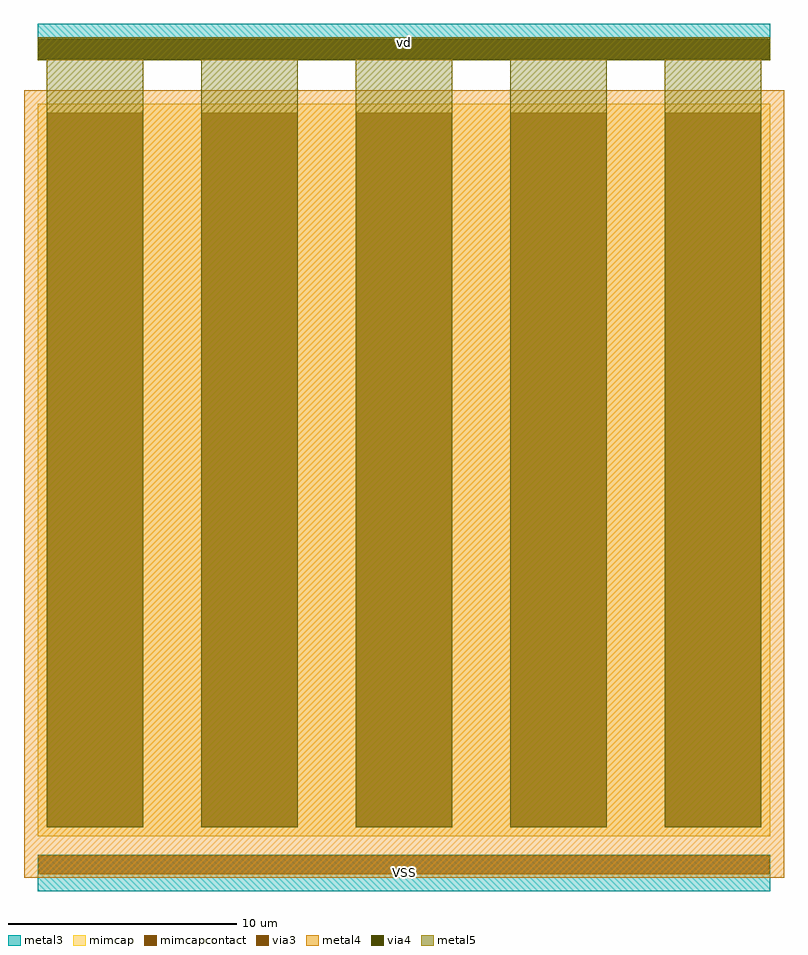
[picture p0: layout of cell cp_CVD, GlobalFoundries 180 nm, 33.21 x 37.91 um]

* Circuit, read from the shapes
.subckt cp_CVD vd VSS
XC1 vd VSS cap_mim_2f0fF c_width=32.01u c_length=32.01u
.ends

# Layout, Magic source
magic
tech gf180mcuD
magscale 1 10
<< metal3 >>
rect 0 -340 6402 -160
rect 0 6782 6402 6982
rect 0 6782 6402 7102
rect 0 6782 6402 7102
rect 0 -480 6402 -160
rect 0 -480 6402 -160
<< metal4 >>
rect -120 -360 6522 6522
rect 0 -340 6402 -160
rect 0 6782 6402 6982
rect 0 6782 6402 6982
<< mimcap >>
rect 0 0 6402 6402
<< metal5 >>
rect 78 78 922 6882
rect 1428 78 2272 6882
rect 2779 78 3623 6882
rect 4129 78 4973 6882
rect 5480 78 6324 6882
rect 0 6782 6402 6982
rect 0 6782 6402 6982
<< via3 >>
rect 10 -330 6392 -170
rect 10 6792 6392 6972
<< via4 >>
rect 10 6792 6392 6972
<< mimcapcontact >>
rect 78 78 922 6324
rect 1428 78 2272 6324
rect 2779 78 3623 6324
rect 4129 78 4973 6324
rect 5480 78 6324 6324
<< labels >>
flabel metal3 s 0 6782 6402 7102 0 FreeSans 80 0 0 0 vd
port 1 nsew signal bidirectional
flabel metal3 s 0 -480 6402 -160 0 FreeSans 80 0 0 0 VSS
port 2 nsew signal bidirectional
<< end >>
